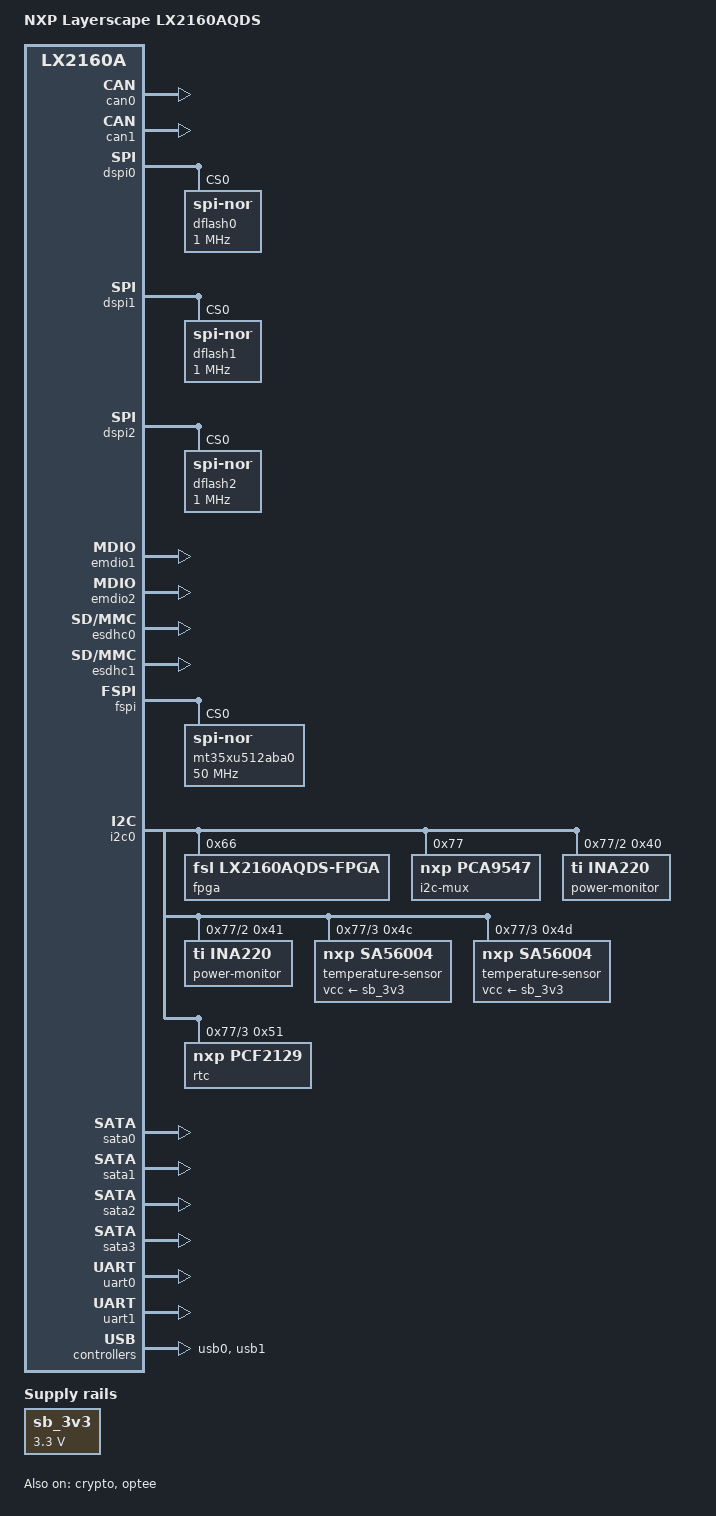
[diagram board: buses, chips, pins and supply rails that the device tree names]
// SPDX-License-Identifier: (GPL-2.0 OR MIT)
//
// Device Tree file for LX2160AQDS
//
// Copyright 2018 NXP

/dts-v1/;

#include "fsl-lx2160a.dtsi"

/ {
	model = "NXP Layerscape LX2160AQDS";
	compatible = "fsl,lx2160a-qds", "fsl,lx2160a";

	aliases {
		crypto = &crypto;
		mmc0 = &esdhc0;
		mmc1 = &esdhc1;
		serial0 = &uart0;
	};

	chosen {
		stdout-path = "serial0:115200n8";
	};

	sb_3v3: regulator-sb3v3 {
		compatible = "regulator-fixed";
		regulator-name = "MC34717-3.3VSB";
		regulator-min-microvolt = <3300000>;
		regulator-max-microvolt = <3300000>;
		regulator-boot-on;
		regulator-always-on;
	};

	mdio-mux-1 {
		compatible = "mdio-mux-multiplexer";
		mux-controls = <&mux 0>;
		mdio-parent-bus = <&emdio1>;
		#address-cells = <1>;
		#size-cells = <0>;

		mdio@0 { /* On-board PHY #1 RGMI1*/
			reg = <0x00>;
			#address-cells = <1>;
			#size-cells = <0>;
		};

		mdio@8 { /* On-board PHY #2 RGMI2*/
			reg = <0x8>;
			#address-cells = <1>;
			#size-cells = <0>;
		};

		mdio@18 { /* Slot #1 */
			reg = <0x18>;
			#address-cells = <1>;
			#size-cells = <0>;
		};

		mdio@19 { /* Slot #2 */
			reg = <0x19>;
			#address-cells = <1>;
			#size-cells = <0>;
		};

		mdio@1a { /* Slot #3 */
			reg = <0x1a>;
			#address-cells = <1>;
			#size-cells = <0>;
		};

		mdio@1b { /* Slot #4 */
			reg = <0x1b>;
			#address-cells = <1>;
			#size-cells = <0>;
		};

		mdio@1c { /* Slot #5 */
			reg = <0x1c>;
			#address-cells = <1>;
			#size-cells = <0>;
		};

		mdio@1d { /* Slot #6 */
			reg = <0x1d>;
			#address-cells = <1>;
			#size-cells = <0>;
		};

		mdio@1e { /* Slot #7 */
			reg = <0x1e>;
			#address-cells = <1>;
			#size-cells = <0>;
		};

		mdio@1f { /* Slot #8 */
			reg = <0x1f>;
			#address-cells = <1>;
			#size-cells = <0>;
		};
	};

	mdio-mux-2 {
		compatible = "mdio-mux-multiplexer";
		mux-controls = <&mux 1>;
		mdio-parent-bus = <&emdio2>;
		#address-cells = <1>;
		#size-cells = <0>;

		mdio@0 { /* Slot #1 (secondary EMI) */
			reg = <0x00>;
			#address-cells = <1>;
			#size-cells = <0>;
		};

		mdio@1 { /* Slot #2 (secondary EMI) */
			reg = <0x01>;
			#address-cells = <1>;
			#size-cells = <0>;
		};

		mdio@2 { /* Slot #3 (secondary EMI) */
			reg = <0x02>;
			#address-cells = <1>;
			#size-cells = <0>;
		};

		mdio@3 { /* Slot #4 (secondary EMI) */
			reg = <0x03>;
			#address-cells = <1>;
			#size-cells = <0>;
		};

		mdio@4 { /* Slot #5 (secondary EMI) */
			reg = <0x04>;
			#address-cells = <1>;
			#size-cells = <0>;
		};

		mdio@5 { /* Slot #6 (secondary EMI) */
			reg = <0x05>;
			#address-cells = <1>;
			#size-cells = <0>;
		};

		mdio@6 { /* Slot #7 (secondary EMI) */
			reg = <0x06>;
			#address-cells = <1>;
			#size-cells = <0>;
		};

		mdio@7 { /* Slot #8 (secondary EMI) */
			reg = <0x07>;
			#address-cells = <1>;
			#size-cells = <0>;
		};
	};
};

&can0 {
	status = "okay";
};

&can1 {
	status = "okay";
};

&crypto {
	status = "okay";
};

&dspi0 {
	status = "okay";

	dflash0: flash@0 {
		#address-cells = <1>;
		#size-cells = <1>;
		compatible = "jedec,spi-nor";
		reg = <0>;
		spi-max-frequency = <1000000>;
	};
};

&dspi1 {
	status = "okay";

	dflash1: flash@0 {
		#address-cells = <1>;
		#size-cells = <1>;
		compatible = "jedec,spi-nor";
		reg = <0>;
		spi-max-frequency = <1000000>;
	};
};

&dspi2 {
	status = "okay";

	dflash2: flash@0 {
		#address-cells = <1>;
		#size-cells = <1>;
		compatible = "jedec,spi-nor";
		reg = <0>;
		spi-max-frequency = <1000000>;
	};
};

&emdio1 {
	status = "okay";
};

&emdio2 {
	status = "okay";
};

&esdhc0 {
	status = "okay";
};

&esdhc1 {
	status = "okay";
};

&fspi {
	status = "okay";

	mt35xu512aba0: flash@0 {
		#address-cells = <1>;
		#size-cells = <1>;
		compatible = "jedec,spi-nor";
		m25p,fast-read;
		spi-max-frequency = <50000000>;
		reg = <0>;
		spi-rx-bus-width = <8>;
		spi-tx-bus-width = <8>;
	};
};

&i2c0 {
	status = "okay";

	fpga@66 {
		compatible = "fsl,lx2160aqds-fpga", "fsl,fpga-qixis-i2c",
			     "simple-mfd";
		reg = <0x66>;

		mux: mux-controller {
			compatible = "reg-mux";
			#mux-control-cells = <1>;
			mux-reg-masks = <0x54 0xf8>, /* 0: reg 0x54, bits 7:3 */
					<0x54 0x07>; /* 1: reg 0x54, bit 2:0 */
		};
	};

	i2c-mux@77 {
		compatible = "nxp,pca9547";
		reg = <0x77>;
		#address-cells = <1>;
		#size-cells = <0>;

		i2c@2 {
			#address-cells = <1>;
			#size-cells = <0>;
			reg = <0x2>;

			power-monitor@40 {
				compatible = "ti,ina220";
				reg = <0x40>;
				shunt-resistor = <500>;
			};

			power-monitor@41 {
				compatible = "ti,ina220";
				reg = <0x41>;
				shunt-resistor = <1000>;
			};
		};

		i2c@3 {
			#address-cells = <1>;
			#size-cells = <0>;
			reg = <0x3>;

			temperature-sensor@4c {
				compatible = "nxp,sa56004";
				reg = <0x4c>;
				vcc-supply = <&sb_3v3>;
			};

			temperature-sensor@4d {
				compatible = "nxp,sa56004";
				reg = <0x4d>;
				vcc-supply = <&sb_3v3>;
			};

			rtc@51 {
				compatible = "nxp,pcf2129";
				reg = <0x51>;
			};
		};
	};
};

&optee {
	status = "okay";
};

&sata0 {
	status = "okay";
};

&sata1 {
	status = "okay";
};

&sata2 {
	status = "okay";
};

&sata3 {
	status = "okay";
};

&uart0 {
	status = "okay";
};

&uart1 {
	status = "okay";
};

&usb0 {
	status = "okay";
};

&usb1 {
	status = "okay";
};
